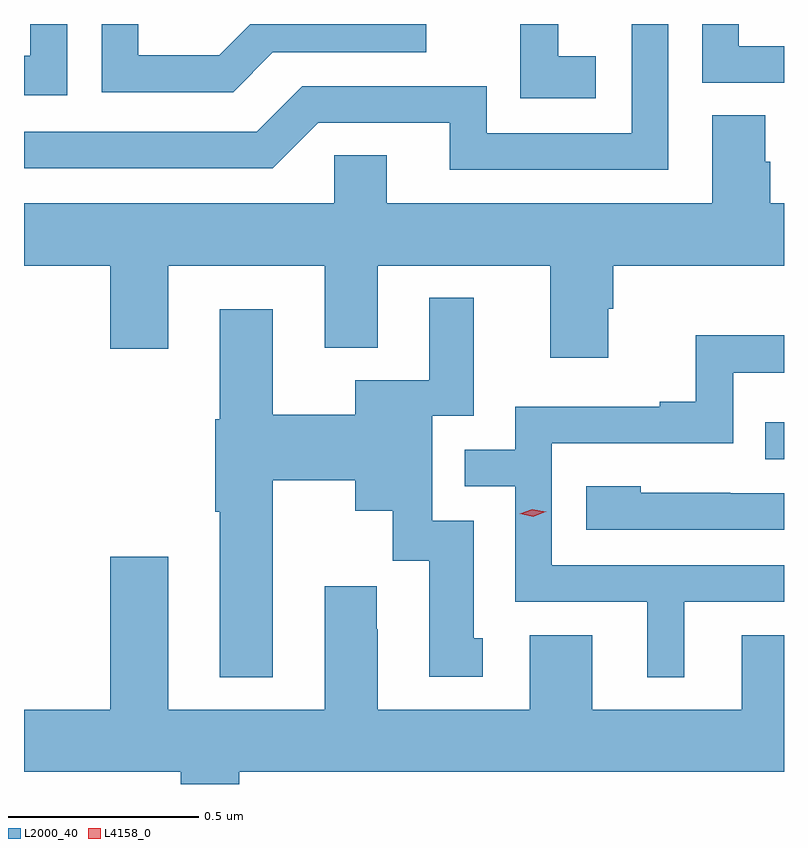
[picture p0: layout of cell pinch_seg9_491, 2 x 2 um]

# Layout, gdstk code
import gdstk
lib = gdstk.Library(unit=1e-6, precision=1e-09)
def R(c, l, rs):  # rectangles x0, y0, x1, y1
    for r in rs: c.add(gdstk.rectangle(r[:2], r[2:], *l))
def P(c, l, *ps):  # polygons
    for p in ps: c.add(gdstk.Polygon(p, *l))
L2000_40 = (2000, 40)
L4158_0 = (4158, 0)

pinch_seg9_491 = lib.new_cell('pinch_seg9_491')
R(pinch_seg9_491, L2000_40, [(352.459,1167.939,352.508,1168.036)])
P(pinch_seg9_491, L2000_40, [(352.508,1169.025),(352.389,1169.025),(352.389,1169.084),(352.293,1169.084),(352.293,1168.929),(352.508,1168.929)],
  [(352.012,1168.999),(351.914,1168.999),(351.914,1169.084),(351.814,1169.084),(351.814,1168.889),(352.012,1168.889)],
  [(350.622,1169.084),(350.525,1169.084),(350.525,1169.001),(350.508,1169.001),(350.508,1168.896),(350.622,1168.896)],
  [(351.163,1169.01),(351.567,1169.01),(351.567,1169.084),(351.104,1169.084),(351.022,1169.002),(350.808,1169.002),(350.808,1169.084),(350.712,1169.084),(350.712,1168.905),(351.058,1168.905)],
  [(352.203,1169.084),(352.107,1169.084),(352.107,1168.797),(351.726,1168.797),(351.726,1168.92),(351.24,1168.92),(351.12,1168.8),(350.508,1168.8),(350.508,1168.704),(351.162,1168.704),(351.282,1168.824),(351.629,1168.824),(351.629,1168.701),(352.203,1168.701)],
  [(352.045,1168.335),(352.058,1168.335),(352.058,1168.448),(352.508,1168.448),(352.508,1168.612),(352.472,1168.612),(352.472,1168.721),(352.458,1168.721),(352.458,1168.844),(352.319,1168.844),(352.319,1168.612),(351.463,1168.612),(351.463,1168.739),(351.324,1168.739),(351.324,1168.612),(350.508,1168.612),(350.508,1168.448),(350.735,1168.448),(350.735,1168.23),(350.887,1168.23),(350.887,1168.448),(351.299,1168.448),(351.299,1168.232),(351.439,1168.232),(351.439,1168.448),(351.893,1168.448),(351.893,1168.206),(352.045,1168.206)],
  [(351.163,1167.884),(351.38,1167.884),(351.38,1167.803),(351.479,1167.803),(351.479,1167.672),(351.575,1167.672),(351.575,1167.366),(351.715,1167.366),(351.715,1167.468),(351.691,1167.468),(351.691,1167.777),(351.582,1167.777),(351.582,1168.053),(351.691,1168.053),(351.691,1168.363),(351.575,1168.363),(351.575,1168.147),(351.38,1168.147),(351.38,1168.056),(351.163,1168.056),(351.163,1168.333),(351.023,1168.333),(351.023,1168.044),(351.011,1168.044),(351.011,1167.8),(351.023,1167.8),(351.023,1167.365),(351.163,1167.365)],
  [(352.246,1167.564),(352.508,1167.564),(352.508,1167.66),(351.897,1167.66),(351.897,1167.981),(352.374,1167.981),(352.374,1168.166),(352.508,1168.166),(352.508,1168.265),(352.276,1168.265),(352.276,1168.09),(352.181,1168.09),(352.181,1168.077),(351.801,1168.077),(351.801,1167.963),(351.668,1167.963),(351.668,1167.867),(351.801,1167.867),(351.801,1167.564),(352.148,1167.564),(352.148,1167.365),(352.246,1167.365)],
  [(352.508,1167.849),(352.367,1167.849),(352.367,1167.85),(352.131,1167.85),(352.131,1167.868),(351.987,1167.868),(351.987,1167.753),(352.508,1167.753)],
  [(351.074,1167.116),(352.508,1167.116),(352.508,1167.475),(352.397,1167.475),(352.397,1167.28),(352.003,1167.28),(352.003,1167.475),(351.839,1167.475),(351.839,1167.28),(351.439,1167.28),(351.439,1167.491),(351.436,1167.491),(351.436,1167.604),(351.299,1167.604),(351.299,1167.28),(350.887,1167.28),(350.887,1167.682),(350.735,1167.682),(350.735,1167.28),(350.508,1167.28),(350.508,1167.116),(350.921,1167.116),(350.921,1167.084),(351.074,1167.084)])
P(pinch_seg9_491, L4158_0, [(351.848,1167.787),(351.812,1167.795),(351.812,1167.795),(351.812,1167.795),(351.846,1167.807),(351.881,1167.8),(351.882,1167.8),(351.881,1167.8)])

lib.write_gds('pinch_seg9_491.gds')
